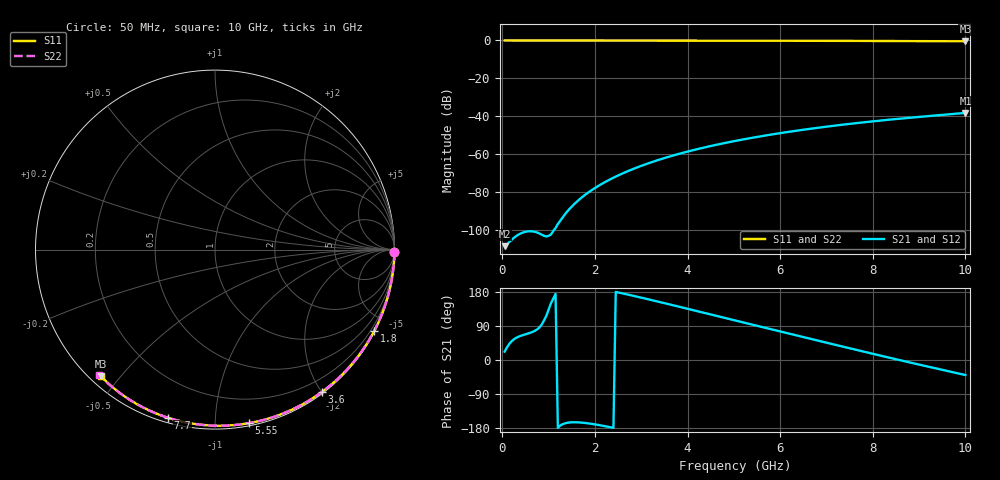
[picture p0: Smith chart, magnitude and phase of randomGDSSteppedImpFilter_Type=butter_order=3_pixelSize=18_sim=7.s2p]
! freq	dB(S11)	phase(S11)	dB(S12)	phase(S12)
!  dB(S21)	phase(S21)	dB(S22)	phase(S22)
!S-par simulation data
#  GHz  S  DB  R 50
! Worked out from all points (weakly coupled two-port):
!   200 points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, 50 MHz to 10 GHz, reference 50 ohm
!   highest |S21| = -38.27 dB at 10 GHz (marker M1); lowest = -108.7 dB at 50 MHz (marker M2)
!   lowest |S11| = -0.4 dB at 10 GHz (marker M3), VSWR 39.08, Z = 1.53 - j22.2 ohm
!   |S11| at or under -10 dB: nowhere
!   |S22| runs from -0.4 to 0.0 dB; largest |S21 - S12| = 0
!   S11 on the Smith chart (normalised r, x): 50 MHz: open; 1.8 GHz: 0.04, -4.15; 3.6 GHz: 0.02, -2.01; 5.55 GHz: 0.02, -1.21; 7.7 GHz: 0.02, -0.76; 10 GHz: 0.03, -0.44
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0.05  -0.00 -0.8  -108.66 22.0  -108.66 22.0  -0.00 -0.8
0.45  -0.01 -6.9  -101.41 65.9  -101.41 65.9  -0.01 -6.9
0.9  -0.02 -13.7  -103.16 104.1  -103.16 104.1  -0.02 -13.8
1.75  -0.03 -26.4  -82.26 -165.6  -82.26 -165.6  -0.03 -26.5
1.8  -0.03 -27.1  -81.32 -166.3  -81.32 -166.3  -0.03 -27.3
1.85  -0.04 -27.8  -80.43 -167.1  -80.43 -167.1  -0.04 -28.0
1.9  -0.04 -28.6  -79.57 -167.9  -79.57 -167.9  -0.04 -28.7
2.05  -0.04 -30.8  -77.19 -170.9  -77.19 -170.9  -0.04 -31.0
2.25  -0.04 -33.7  -74.38 -175.4  -74.38 -175.4  -0.04 -33.9
2.65  -0.05 -39.5  -69.66 174.3  -69.66 174.3  -0.05 -39.7
3  -0.06 -44.5  -66.23 164.6  -66.23 164.6  -0.06 -44.8
3.4  -0.07 -50.2  -62.88 153.0  -62.88 153.0  -0.07 -50.5
3.6  -0.07 -53.0  -61.39 147.1  -61.39 147.1  -0.07 -53.3
4.3  -0.09 -62.6  -56.88 126.2  -56.88 126.2  -0.09 -62.9
5.05  -0.11 -72.6  -52.97 103.7  -52.97 103.7  -0.11 -73.0
5.55  -0.13 -79.1  -50.75 88.8  -50.75 88.8  -0.13 -79.5
6.1  -0.15 -86.0  -48.58 72.4  -48.58 72.4  -0.15 -86.5
6.7  -0.18 -93.5  -46.48 54.5  -46.48 54.5  -0.18 -94.0
7.7  -0.24 -105.5  -43.51 25.1  -43.51 25.1  -0.24 -106.1
8.35  -0.29 -113.1  -41.86 6.3  -41.86 6.3  -0.29 -113.7
9.15  -0.36 -122.4  -40.06 -16.3  -40.06 -16.3  -0.36 -123.0
10  -0.44 -132.0  -38.27 -39.6  -38.27 -39.6  -0.44 -132.7
